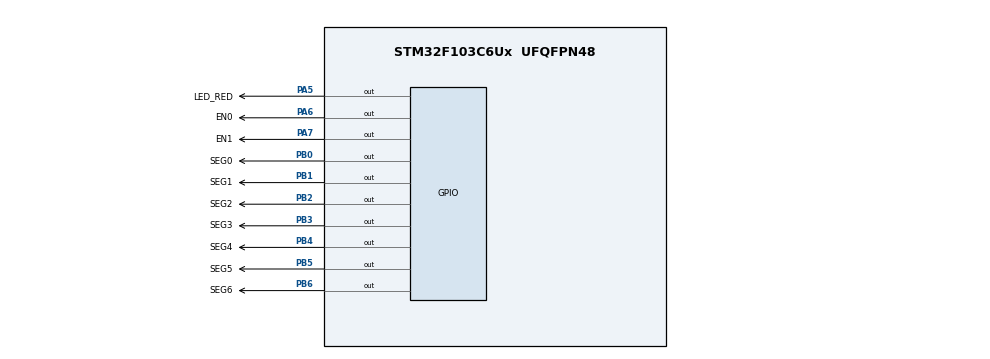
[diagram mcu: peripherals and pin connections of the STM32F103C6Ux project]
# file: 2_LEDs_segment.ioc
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Mcu.Family=STM32F1
Mcu.Name=STM32F103C6Ux
Mcu.Package=UFQFPN48
NVIC.PriorityGroup=NVIC_PRIORITYGROUP_4
NVIC.TIM2_IRQn=true\:0\:0\:false\:false\:true\:true\:true
PA5.GPIO_Label=LED_RED
PA5.Signal=GPIO_Output
PA6.GPIO_Label=EN0
PA6.Signal=GPIO_Output
PA7.GPIO_Label=EN1
PA7.Signal=GPIO_Output
PB0.GPIO_Label=SEG0
PB0.Signal=GPIO_Output
PB1.GPIO_Label=SEG1
PB1.Signal=GPIO_Output
PB2.GPIO_Label=SEG2
PB2.Signal=GPIO_Output
PB3.GPIO_Label=SEG3
PB3.Signal=GPIO_Output
PB4.GPIO_Label=SEG4
PB4.Signal=GPIO_Output
PB5.GPIO_Label=SEG5
PB5.Signal=GPIO_Output
PB6.GPIO_Label=SEG6
PB6.Signal=GPIO_Output
ProjectManager.HeapSize=0x200
ProjectManager.StackSize=0x400
ProjectManager.TargetToolchain=STM32CubeIDE
RCC.APB1Freq_Value=8000000
RCC.APB2Freq_Value=8000000
TIM2.Period=9
TIM2.Prescaler=7999
VP_SYS_VS_ND.Mode=No_Debug
VP_TIM2_VS_ClockSourceINT.Mode=Internal
board=custom

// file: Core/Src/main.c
/* USER CODE BEGIN Header */
/**
  ******************************************************************************
  * @file           : main.c
  * @brief          : Main program body
  ******************************************************************************
  * @attention
  *
  * <h2><center>&copy; Copyright (c) 2026 STMicroelectronics.
  * All rights reserved.</center></h2>
  *
  * This software component is licensed by ST under BSD 3-Clause license,
  * the "License"; You may not use this file except in compliance with the
  * License. You may obtain a copy of the License at:
  *                        opensource.org/licenses/BSD-3-Clause
  *
  ******************************************************************************
  */
/* USER CODE END Header */
#include "main.h"

TIM_HandleTypeDef htim2;

void SystemClock_Config(void);
static void MX_GPIO_Init(void);
static void MX_TIM2_Init(void);
/* USER CODE BEGIN PFP */
void display7SEG ( int num );
/* USER CODE END PFP */

/* USER CODE BEGIN 0 */
int timer_counter =50;
int led_status =0;
/* USER CODE END 0 */

int main(void)
{

  /* MCU Configuration--------------------------------------------------------*/

  /* Reset of all peripherals, Initializes the Flash interface and the Systick. */
  HAL_Init();

  /* Configure the system clock */
  SystemClock_Config();

  /* Initialize all configured peripherals */
  MX_GPIO_Init();
  MX_TIM2_Init();
  /* USER CODE BEGIN 2 */
  HAL_TIM_Base_Start_IT(&htim2);
  /* USER CODE END 2 */

  /* Infinite loop */
  while (1)
  {

  }
}

void SystemClock_Config(void)
{
  RCC_OscInitTypeDef RCC_OscInitStruct = {0};
  RCC_ClkInitTypeDef RCC_ClkInitStruct = {0};

  /** Initializes the RCC Oscillators according to the specified parameters
  * in the RCC_OscInitTypeDef structure.
  */
  RCC_OscInitStruct.OscillatorType = RCC_OSCILLATORTYPE_HSI;
  RCC_OscInitStruct.HSIState = RCC_HSI_ON;
  RCC_OscInitStruct.HSICalibrationValue = RCC_HSICALIBRATION_DEFAULT;
  RCC_OscInitStruct.PLL.PLLState = RCC_PLL_NONE;
  if (HAL_RCC_OscConfig(&RCC_OscInitStruct) != HAL_OK)
  {
    Error_Handler();
  }
  /** Initializes the CPU, AHB and APB buses clocks
  */
  RCC_ClkInitStruct.ClockType = RCC_CLOCKTYPE_HCLK|RCC_CLOCKTYPE_SYSCLK
                              |RCC_CLOCKTYPE_PCLK1|RCC_CLOCKTYPE_PCLK2;
  RCC_ClkInitStruct.SYSCLKSource = RCC_SYSCLKSOURCE_HSI;
  RCC_ClkInitStruct.AHBCLKDivider = RCC_SYSCLK_DIV1;
  RCC_ClkInitStruct.APB1CLKDivider = RCC_HCLK_DIV1;
  RCC_ClkInitStruct.APB2CLKDivider = RCC_HCLK_DIV1;

  if (HAL_RCC_ClockConfig(&RCC_ClkInitStruct, FLASH_LATENCY_0) != HAL_OK)
  {
    Error_Handler();
  }
}

static void MX_TIM2_Init(void)
{

  TIM_ClockConfigTypeDef sClockSourceConfig = {0};
  TIM_MasterConfigTypeDef sMasterConfig = {0};

  htim2.Instance = TIM2;
  htim2.Init.Prescaler = 7999;
  htim2.Init.CounterMode = TIM_COUNTERMODE_UP;
  htim2.Init.Period = 9;
  htim2.Init.ClockDivision = TIM_CLOCKDIVISION_DIV1;
  htim2.Init.AutoReloadPreload = TIM_AUTORELOAD_PRELOAD_DISABLE;
  if (HAL_TIM_Base_Init(&htim2) != HAL_OK)
  {
    Error_Handler();
  }
  sClockSourceConfig.ClockSource = TIM_CLOCKSOURCE_INTERNAL;
  if (HAL_TIM_ConfigClockSource(&htim2, &sClockSourceConfig) != HAL_OK)
  {
    Error_Handler();
  }
  sMasterConfig.MasterOutputTrigger = TIM_TRGO_RESET;
  sMasterConfig.MasterSlaveMode = TIM_MASTERSLAVEMODE_DISABLE;
  if (HAL_TIMEx_MasterConfigSynchronization(&htim2, &sMasterConfig) != HAL_OK)
  {
    Error_Handler();
  }

}

static void MX_GPIO_Init(void)
{
  GPIO_InitTypeDef GPIO_InitStruct = {0};

  /* GPIO Ports Clock Enable */
  __HAL_RCC_GPIOA_CLK_ENABLE();
  __HAL_RCC_GPIOB_CLK_ENABLE();

  /*Configure GPIO pin Output Level */
  HAL_GPIO_WritePin(GPIOA, LED_RED_Pin|EN0_Pin|EN1_Pin, GPIO_PIN_RESET);

  /*Configure GPIO pin Output Level */
  HAL_GPIO_WritePin(GPIOB, SEG0_Pin|SEG1_Pin|SEG2_Pin|SEG3_Pin
                          |SEG4_Pin|SEG5_Pin|SEG6_Pin, GPIO_PIN_RESET);

  /*Configure GPIO pins : LED_RED_Pin EN0_Pin EN1_Pin */
  GPIO_InitStruct.Pin = LED_RED_Pin|EN0_Pin|EN1_Pin;
  GPIO_InitStruct.Mode = GPIO_MODE_OUTPUT_PP;
  GPIO_InitStruct.Pull = GPIO_NOPULL;
  GPIO_InitStruct.Speed = GPIO_SPEED_FREQ_LOW;
  HAL_GPIO_Init(GPIOA, &GPIO_InitStruct);

  /*Configure GPIO pins : SEG0_Pin SEG1_Pin SEG2_Pin SEG3_Pin
                           SEG4_Pin SEG5_Pin SEG6_Pin */
  GPIO_InitStruct.Pin = SEG0_Pin|SEG1_Pin|SEG2_Pin|SEG3_Pin
                          |SEG4_Pin|SEG5_Pin|SEG6_Pin;
  GPIO_InitStruct.Mode = GPIO_MODE_OUTPUT_PP;
  GPIO_InitStruct.Pull = GPIO_NOPULL;
  GPIO_InitStruct.Speed = GPIO_SPEED_FREQ_LOW;
  HAL_GPIO_Init(GPIOB, &GPIO_InitStruct);

}

/* USER CODE BEGIN 4 */
void display7SEG(int num) {
    // Hex codes for displaying digits 0 -9 on a common-anode 7-segment LED
    // Bit 0 corresponds to segment A, Bit 1 to segment B, ... , Bit 6 to segment G
    // 0 = ON , 1 = OFF
    uint8_t hex_code[10] = {0x40, 0x79, 0x24, 0x30, 0x19, 0x12, 0x02, 0x78, 0x00, 0x10};

    // if out range 0 -9, do nothing
    if (num < 0 || num > 9) return;

    uint8_t code = hex_code[num];

    // Using shifting bit & AND logic to isolate the state of each pin
    HAL_GPIO_WritePin(GPIOB, SEG0_Pin, ((code >> 0) & 0x01) ? GPIO_PIN_SET : GPIO_PIN_RESET);
    HAL_GPIO_WritePin(GPIOB, SEG1_Pin, ((code >> 1) & 0x01) ? GPIO_PIN_SET : GPIO_PIN_RESET);
    HAL_GPIO_WritePin(GPIOB, SEG2_Pin, ((code >> 2) & 0x01) ? GPIO_PIN_SET : GPIO_PIN_RESET);
    HAL_GPIO_WritePin(GPIOB, SEG3_Pin, ((code >> 3) & 0x01) ? GPIO_PIN_SET : GPIO_PIN_RESET);
    HAL_GPIO_WritePin(GPIOB, SEG4_Pin, ((code >> 4) & 0x01) ? GPIO_PIN_SET : GPIO_PIN_RESET);
    HAL_GPIO_WritePin(GPIOB, SEG5_Pin, ((code >> 5) & 0x01) ? GPIO_PIN_SET : GPIO_PIN_RESET);
    HAL_GPIO_WritePin(GPIOB, SEG6_Pin, ((code >> 6) & 0x01) ? GPIO_PIN_SET : GPIO_PIN_RESET);
}

void HAL_TIM_PeriodElapsedCallback(TIM_HandleTypeDef *htim)
{
    if (htim->Instance == TIM2) {
        timer_counter--;

        if (timer_counter <= 0) {
            timer_counter = 50;

            HAL_GPIO_TogglePin(LED_RED_GPIO_Port, LED_RED_Pin);

            if (led_status == 0) {

                HAL_GPIO_WritePin(GPIOA, GPIO_PIN_7, GPIO_PIN_SET); // EN1 = HIGH (off)

                display7SEG(1);

                // on LED 1
                HAL_GPIO_WritePin(GPIOA, GPIO_PIN_6, GPIO_PIN_RESET); // EN0 = LOW (on)

                //Update the state so that the next interrupt triggers LED 2.
                led_status = 1;
            }
            else if (led_status == 1) {
                // 1. off lED 1
                HAL_GPIO_WritePin(GPIOA, GPIO_PIN_6, GPIO_PIN_SET); // EN0 = HIGH (Tắt)

                // 2. Output data 2 to pins PB0–PB6.
                display7SEG(2);

                // 3. ON LED 2
                HAL_GPIO_WritePin(GPIOA, GPIO_PIN_7, GPIO_PIN_RESET); // EN1 = LOW (Bật)

                // 4. Update the state so that the LED turns back on after the next interruption.
                led_status = 0;
            }
        }
    }
}
/* USER CODE END 4 */

void Error_Handler(void)
{
  __disable_irq();
  while (1)
  {
  }
}

/************************ (C) COPYRIGHT STMicroelectronics *****END OF FILE****/
